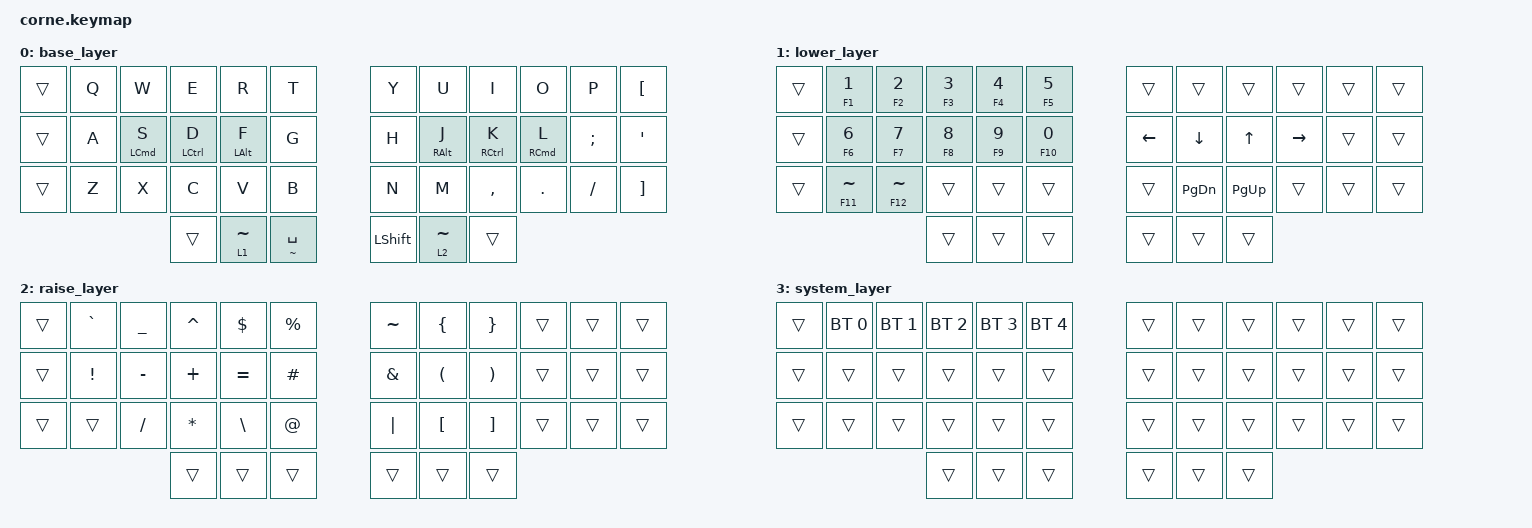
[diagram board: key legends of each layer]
/*
 * Copyright (c) 2020 The ZMK Contributors
 *
 * SPDX-License-Identifier: MIT
 */

#include <behaviors.dtsi>
#include <dt-bindings/zmk/bt.h>
#include <dt-bindings/zmk/keys.h>

&mt {
    tapping-term-ms = <280>;
    quick-tap-ms = <175>;
    flavor = "tap-preferred";
};

/ {
    behaviors {
        HRM_R: HRM_R {
            compatible = "zmk,behavior-hold-tap";
            label = "HRM_R";
            bindings = <&kp>, <&kp>;

            #binding-cells = <2>;
            tapping-term-ms = <280>;
            quick-tap-ms = <175>;
            require-prior-idle-ms = <(-1)>;
            flavor = "tap-preferred";
            hold-trigger-on-release;
            hold-trigger-key-positions = <41 40 39 38 37 36 29 28 27 26 24 25 12 13 14 15 17 16 5 4 3 2 0 1>;
        };

        HRM_L: HRM_L {
            compatible = "zmk,behavior-hold-tap";
            label = "HRM_L";
            bindings = <&kp>, <&kp>;

            #binding-cells = <2>;
            tapping-term-ms = <280>;
            quick-tap-ms = <175>;
            require-prior-idle-ms = <(-1)>;
            flavor = "tap-preferred";
            hold-trigger-on-release;
            hold-trigger-key-positions = <41 40 39 38 37 36 6 18 6 7 8 9 10 11 18 19 20 21 22 23 30 31 32 33 34 35>;
        };
    };

    combos {
        compatible = "zmk,combos";

        capslock-combo {
            bindings = <&kp CAPSLOCK>;
            key-positions = <1 10>;
            layers = <0>;
        };

        escape-combo {
            bindings = <&kp ESCAPE>;
            key-positions = <19 20>;
            layers = <0>;
            timeout-ms = <7>;
            require-prior-idle-ms = <30>;
        };

        enter-combo {
            bindings = <&kp ENTER>;
            key-positions = <31 32>;
            layers = <0>;
            timeout-ms = <18>;
            require-prior-idle-ms = <30>;
        };

        tab-combo {
            bindings = <&kp TAB>;
            key-positions = <33 32>;
            layers = <0>;
            timeout-ms = <18>;
            require-prior-idle-ms = <30>;
        };

        soft-off-combo {
            bindings = <&soft_off>;
            key-positions = <0 11>;
            layers = <3>;
        };

        bt-clear-all-combo {
            bindings = <&bt BT_CLR_ALL>;
            key-positions = <24 35>;
            layers = <3>;
        };

        backspace-combo {
            bindings = <&kp BACKSPACE>;
            key-positions = <9 8>;
            layers = <0>;
            timeout-ms = <18>;
            require-prior-idle-ms = <30>;
        };

        caps-word-combo {
            bindings = <&caps_word>;
            key-positions = <2 9>;
            layers = <0>;
        };
    };

    macros {
        unicode_macro: unicode_macro {
            compatible = "zmk,behavior-macro";
            #binding-cells = <0>;
            bindings = <&none>;
            label = "UNICODE_MACRO";
        };
    };

    keymap {
        compatible = "zmk,keymap";

        base_layer {
            // -----------------------------------------------------------------------------------------
            // |  TAB |  Q  |  W  |  E  |  R  |  T  |   |  Y  |  U   |  I  |  O  |  P  | BSPC |
            // | CTRL |  A  |  S  |  D  |  F  |  G  |   |  H  |  J   |  K  |  L  |  ;  |  '   |
            // | SHFT |  Z  |  X  |  C  |  V  |  B  |   |  N  |  M   |  ,  |  .  |  /  | ESC  |
            //                    | GUI | LWR | SPC |   | ENT | RSE  | ALT |

            bindings = <
&trans  &kp Q  &kp W                  &kp E                  &kp R              &kp T                 &kp Y           &kp U               &kp I                   &kp O                   &kp P          &kp LEFT_BRACKET
&trans  &kp A  &HRM_L LEFT_COMMAND S  &HRM_L LEFT_CONTROL D  &HRM_L LEFT_ALT F  &kp G                 &kp H           &HRM_R RIGHT_ALT J  &HRM_R RIGHT_CONTROL K  &HRM_R RIGHT_COMMAND L  &kp SEMICOLON  &kp SQT
&trans  &kp Z  &kp X                  &kp C                  &kp V              &kp B                 &kp N           &kp M               &kp COMMA               &kp DOT                 &kp FSLH       &kp RIGHT_BRACKET
                                      &trans                 &lt 1 TILDE        &HRM_L TILDE SPACE    &kp LEFT_SHIFT  &lt 2 TILDE         &trans
            >;
        };

        lower_layer {
            // -----------------------------------------------------------------------------------------
            // |  TAB |  1  |  2  |  3  |  4  |  5  |   |  6  |  7  |  8  |  9  |  0  | BSPC |
            // | BTCLR| BT1 | BT2 | BT3 | BT4 | BT5 |   | LFT | DWN |  UP | RGT |     |      |
            // | SHFT |     |     |     |     |     |   |     |     |     |     |     |      |
            //                    | GUI |     | SPC |   | ENT |     | ALT |

            bindings = <
&trans  &mt F1 NUMBER_1  &mt F2 NUMBER_2  &mt F3 NUMBER_3  &mt F4 NUMBER_4  &mt F5 NUMBER_5     &trans    &trans         &trans       &trans     &trans  &trans
&trans  &mt F6 NUMBER_6  &mt F7 NUMBER_7  &mt F8 NUMBER_8  &mt F9 NUMBER_9  &mt F10 NUMBER_0    &kp LEFT  &kp DOWN       &kp UP       &kp RIGHT  &trans  &trans
&trans  &mt F11 TILDE    &mt F12 TILDE    &trans           &trans           &trans              &trans    &kp PAGE_DOWN  &kp PAGE_UP  &trans     &trans  &trans
                                          &trans           &trans           &trans              &trans    &trans         &trans
            >;
        };

        raise_layer {
            // -----------------------------------------------------------------------------------------
            // |  TAB |  !  |  @  |  #  |  $  |  %  |   |  ^  |  &  |  *  |  (  |  )  | BSPC |
            // | CTRL |     |     |     |     |     |   |  -  |  =  |  [  |  ]  |  \  |  `   |
            // | SHFT |     |     |     |     |     |   |  _  |  +  |  {  |  }  | "|" |  ~   |
            //                    | GUI |     | SPC |   | ENT |     | ALT |

            bindings = <
&trans  &kp GRAVE        &kp UNDERSCORE  &kp CARET     &kp DOLLAR     &kp PERCENT    &kp TILDE      &kp LEFT_BRACE        &kp RIGHT_BRACE        &trans  &trans  &trans
&trans  &kp EXCLAMATION  &kp MINUS       &kp PLUS      &kp EQUAL      &kp HASH       &kp AMPERSAND  &kp LEFT_PARENTHESIS  &kp RIGHT_PARENTHESIS  &trans  &trans  &trans
&trans  &trans           &kp SLASH       &kp ASTERISK  &kp BACKSLASH  &kp AT         &kp PIPE       &kp LEFT_BRACKET      &kp RIGHT_BRACKET      &trans  &trans  &trans
                                         &trans        &trans         &trans         &trans         &trans                &trans
            >;
        };

        system_layer {
            bindings = <
&trans  &bt BT_SEL 0  &bt BT_SEL 1  &bt BT_SEL 2  &bt BT_SEL 3  &bt BT_SEL 4    &trans  &trans  &trans  &trans  &trans  &trans
&trans  &trans        &trans        &trans        &trans        &trans          &trans  &trans  &trans  &trans  &trans  &trans
&trans  &trans        &trans        &trans        &trans        &trans          &trans  &trans  &trans  &trans  &trans  &trans
                                    &trans        &trans        &trans          &trans  &trans  &trans
            >;
        };
    };

    conditional_layers {
        compatible = "zmk,conditional-layers";

        conditional_system_layer {
            if-layers = <1 2>;
            then-layer = <3>;
        };
    };
};
